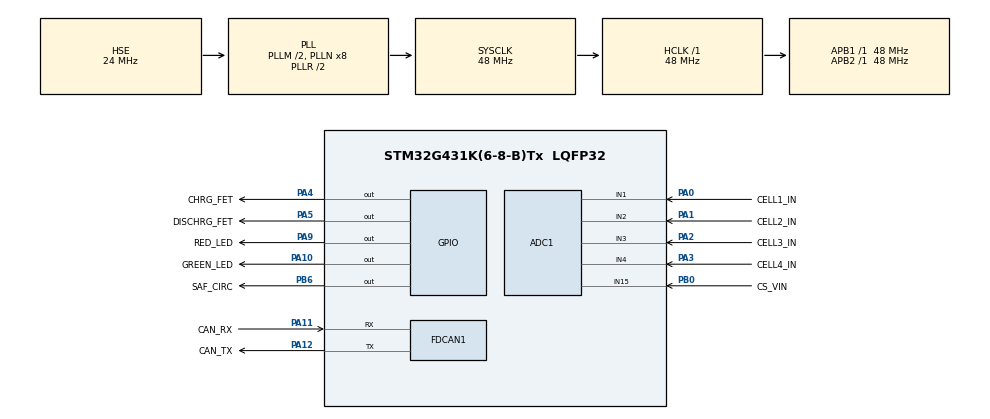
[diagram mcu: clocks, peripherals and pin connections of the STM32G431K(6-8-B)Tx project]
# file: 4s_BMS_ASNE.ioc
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ADC1.Channel-0\#ChannelRegularConversion=ADC_CHANNEL_1
ADC1.Channel-1\#ChannelRegularConversion=ADC_CHANNEL_2
ADC1.Channel-2\#ChannelRegularConversion=ADC_CHANNEL_3
ADC1.Channel-3\#ChannelRegularConversion=ADC_CHANNEL_4
ADC1.Channel-4\#ChannelRegularConversion=ADC_CHANNEL_15
ADC1.ClockPrescaler=ADC_CLOCK_ASYNC_DIV2
ADC1.ContinuousConvMode=ENABLE
ADC1.DMAContinuousRequests=ENABLE
ADC1.EOCSelection=ADC_EOC_SEQ_CONV
ADC1.NbrOfConversion=5
ADC1.NbrOfConversionFlag=1
ADC1.OffsetNumber-0\#ChannelRegularConversion=ADC_OFFSET_NONE
ADC1.OffsetNumber-1\#ChannelRegularConversion=ADC_OFFSET_NONE
ADC1.OffsetNumber-2\#ChannelRegularConversion=ADC_OFFSET_NONE
ADC1.OffsetNumber-3\#ChannelRegularConversion=ADC_OFFSET_NONE
ADC1.OffsetNumber-4\#ChannelRegularConversion=ADC_OFFSET_NONE
ADC1.Rank-0\#ChannelRegularConversion=1
ADC1.Rank-1\#ChannelRegularConversion=2
ADC1.Rank-2\#ChannelRegularConversion=3
ADC1.Rank-3\#ChannelRegularConversion=4
ADC1.Rank-4\#ChannelRegularConversion=5
ADC1.SamplingTime-0\#ChannelRegularConversion=ADC_SAMPLETIME_640CYCLES_5
ADC1.SamplingTime-1\#ChannelRegularConversion=ADC_SAMPLETIME_640CYCLES_5
ADC1.SamplingTime-2\#ChannelRegularConversion=ADC_SAMPLETIME_640CYCLES_5
ADC1.SamplingTime-3\#ChannelRegularConversion=ADC_SAMPLETIME_640CYCLES_5
ADC1.SamplingTime-4\#ChannelRegularConversion=ADC_SAMPLETIME_640CYCLES_5
ADC1.master=1
Dma.ADC1.0.Direction=DMA_PERIPH_TO_MEMORY
Dma.ADC1.0.EventEnable=DISABLE
Dma.ADC1.0.Instance=DMA1_Channel1
Dma.ADC1.0.MemDataAlignment=DMA_MDATAALIGN_HALFWORD
Dma.ADC1.0.MemInc=DMA_MINC_ENABLE
Dma.ADC1.0.Mode=DMA_CIRCULAR
Dma.ADC1.0.PeriphDataAlignment=DMA_PDATAALIGN_HALFWORD
Dma.ADC1.0.PeriphInc=DMA_PINC_DISABLE
Dma.ADC1.0.Polarity=HAL_DMAMUX_REQ_GEN_RISING
Dma.ADC1.0.Priority=DMA_PRIORITY_LOW
Dma.ADC1.0.RequestNumber=1
Dma.ADC1.0.SignalID=NONE
Dma.ADC1.0.SyncEnable=DISABLE
Dma.ADC1.0.SyncPolarity=HAL_DMAMUX_SYNC_NO_EVENT
Dma.ADC1.0.SyncRequestNumber=1
Dma.ADC1.0.SyncSignalID=NONE
Dma.Request0=ADC1
FDCAN1.CalculateBaudRateNominal=500000
FDCAN1.CalculateTimeBitNominal=2000
FDCAN1.CalculateTimeQuantumNominal=125.0
FDCAN1.NominalPrescaler=3
FDCAN1.NominalSyncJumpWidth=1
FDCAN1.NominalTimeSeg1=13
FDCAN1.NominalTimeSeg2=2
Mcu.Family=STM32G4
Mcu.Name=STM32G431K(6-8-B)Tx
Mcu.Package=LQFP32
NVIC.ADC1_2_IRQn=true\:0\:0\:false\:false\:true\:true\:true\:true
NVIC.DMA1_Channel1_IRQn=true\:0\:0\:false\:false\:true\:false\:true\:true
NVIC.PriorityGroup=NVIC_PRIORITYGROUP_4
PA0.GPIO_Label=CELL1_IN
PA0.Mode=IN1-Single-Ended
PA0.Signal=ADC1_IN1
PA1.GPIO_Label=CELL2_IN
PA1.Mode=IN2-Single-Ended
PA1.Signal=ADC1_IN2
PA10.GPIO_Label=GREEN_LED
PA10.Signal=GPIO_Output
PA11.GPIO_Label=CAN_RX
PA11.GPIO_PuPd=GPIO_PULLUP
PA11.Mode=FDCAN_Activate
PA11.Signal=FDCAN1_RX
PA12.GPIO_Label=CAN_TX
PA12.GPIO_Speed=GPIO_SPEED_FREQ_MEDIUM
PA12.Mode=FDCAN_Activate
PA12.Signal=FDCAN1_TX
PA13.Mode=Serial_Wire
PA13.Signal=SYS_JTMS-SWDIO
PA14.Mode=Serial_Wire
PA14.Signal=SYS_JTCK-SWCLK
PA2.GPIO_Label=CELL3_IN
PA2.Mode=IN3-Single-Ended
PA2.Signal=ADC1_IN3
PA3.GPIO_Label=CELL4_IN
PA3.Mode=IN4-Single-Ended
PA3.Signal=ADC1_IN4
PA4.GPIO_Label=CHRG_FET
PA4.Signal=GPIO_Output
PA5.GPIO_Label=DISCHRG_FET
PA5.Signal=GPIO_Output
PA7.Signal=OPAMP1_VINP
PA9.GPIO_Label=RED_LED
PA9.Signal=GPIO_Output
PB0.GPIO_Label=CS_VIN
PB0.Mode=IN15-Single-Ended
PB0.Signal=ADC1_IN15
PB6.GPIO_Label=SAF_CIRC
PB6.GPIO_ModeDefaultOutputPP=GPIO_MODE_OUTPUT_OD
PB6.GPIO_PuPd=GPIO_NOPULL
PB6.Signal=GPIO_Output
PF0-OSC_IN.Mode=HSE-External-Oscillator
PF0-OSC_IN.Signal=RCC_OSC_IN
PF1-OSC_OUT.Mode=HSE-External-Oscillator
PF1-OSC_OUT.Signal=RCC_OSC_OUT
ProjectManager.HeapSize=0x200
ProjectManager.StackSize=0x400
ProjectManager.TargetToolchain=CMake
RCC.ADC12CLockSelection=RCC_ADC12CLKSOURCE_PLL
RCC.ADC12Freq_Value=48000000
RCC.AHBFreq_Value=48000000
RCC.APB1Freq_Value=48000000
RCC.APB1TimFreq_Value=48000000
RCC.APB2Freq_Value=48000000
RCC.APB2TimFreq_Value=48000000
RCC.CortexFreq_Value=48000000
RCC.EXTERNAL_CLOCK_VALUE=12288000
RCC.FDCANCLockSelection=RCC_FDCANCLKSOURCE_HSE
RCC.HCLKFreq_Value=48000000
RCC.HSE_VALUE=24000000
RCC.HSI48_VALUE=48000000
RCC.HSI_VALUE=16000000
RCC.LSE_VALUE=32768
RCC.PLLM=RCC_PLLM_DIV2
RCC.PLLSourceVirtual=RCC_PLLSOURCE_HSE
RCC.SYSCLKFreq_VALUE=48000000
RCC.SYSCLKSource=RCC_SYSCLKSOURCE_PLLCLK
RCC.USBFreq_Value=48000000
RCC.VCOOutputFreq_Value=96000000
TIM1.PeriodNoDither=499
TIM1.Prescaler=23999
VP_ADC1_Vref_Input.Mode=IN-Vrefint
VP_SYS_VS_DBSignals.Mode=DisableDeadBatterySignals
VP_TIM1_VS_ClockSourceINT.Mode=Internal
board=custom

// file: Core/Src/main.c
/* USER CODE BEGIN Header */
/**
 ******************************************************************************
 * @file           : main.c
 * @brief          : Main program body
 ******************************************************************************
 * @attention
 *
 * Copyright (c) 2026 STMicroelectronics.
 * All rights reserved.
 *
 * This software is licensed under terms that can be found in the LICENSE file
 * in the root directory of this software component.
 * If no LICENSE file comes with this software, it is provided AS-IS.
 *
 ******************************************************************************
 */
/* USER CODE END Header */
#include "main.h"
#include "adc.h"
#include "dma.h"
#include "fdcan.h"
#include "tim.h"
#include "gpio.h"

/* USER CODE BEGIN Includes */
#include "can_common.h"
#include <stdbool.h>
#include <stdint.h>
#include <stdlib.h>

/* USER CODE END Includes */

/* USER CODE BEGIN PD */
#define ADC_RES 12
#define ADC_RANGE 4095
#define R_DIV_K 160
#define ADC1_NUM_CHANNELS 5
#define CURR_SENSOR_ADC_CHANNEL 4

#define NUM_CELLS 4
#define ADC_V_REF 3300
#define CURR_SENSOR_SENSITIVITY 66 // mV/A
#define CURR_SENSOR_CALIBRATION_SAMPLES 100

// safe operation
#define MIN_CELL_mV 3000
#define MAX_CELL_mV 4200
#define MAX_CURR_mA 500
#define MAX_TEMP_mC 1000

#define CONSEC_OVERCURRENT_READING_THRESH 5
#define CONSEC_OVERVOLTAGE_READING_THRESH 5
#define CONSEC_UNDERVOLTAGE_READING_THRESH 5
#define CONSEC_OVERHEATING_READING_THRESH 5

#define CELL_UNDERVOLT_RECOVER_mV 3200
#define CELL_OVERVOLT_RECOVER_mV 4100

#define DATA_EXPIRATION_mS 250
#define ADC_RAW_MIN 20   // probs disconnected
#define ADC_RAW_MAX 4075 // maxxe

/* USER CODE END PD */

void SystemClock_Config(void);
/* USER CODE BEGIN PFP */
static void calc_cell_voltages(void);
static void calibrate_zero_current(void);
static void calc_current(void);
static void enable_charge_fet(void);
static void enable_discharge_fet(void);
static void disable_charge_fet(void);
static void disable_discharge_fet(void);
static bool is_overcurrent(void);
static bool is_overvoltage(int32_t volt_mV, uint8_t cell_no);
static bool any_overvoltage(void);
static bool is_cell_undervoltage(int32_t volt_mV, uint8_t cell_no);
static bool any_undervoltage(void);
static bool is_overheating(void);
static bool is_safe_charge(bool oc_fault, bool oh_fault);
static bool is_safe_discharge(bool oc_fault, bool oh_fault);
static bool can_enable_discharge(void);
static bool can_enable_charge(void);
static bool validate_cell_taps(void);

/* USER CODE END PFP */

/* USER CODE BEGIN 0 */
static const uint32_t R_TOP_K[4] = {62, 280, 510, 750};
volatile uint16_t adc1_raw[ADC1_NUM_CHANNELS];
volatile uint16_t tap_raw[4];
volatile uint32_t tap_mv[4];
volatile int32_t cell_mv[4];
volatile int32_t current_mA = 0;

// safe conditions
volatile int32_t temp_mC = 0;
volatile uint8_t adc1_ready = 0;
volatile int32_t calibrated_curr_zero_mv = 0;

volatile uint8_t is_charge_en = 0;
volatile uint8_t is_discharge_en = 0;

volatile uint8_t consec_overcurrent_readings = 0;
volatile uint8_t consec_overvoltage_readings[4] = {0};
volatile uint8_t consec_undervoltage_readings[4] = {0};
volatile uint8_t consec_overheating_readings = 0;

volatile uint32_t last_adc_tick = UINT32_MAX;
volatile bool is_temp_valid = 1;

static void calc_cell_voltages(void) {
  // tap voltage = raw * vref * (r_top + R_DIV_K) / (adc_range * R_DIV_K)
  // NOTE: cell tap 4 is BAT+
  for (int i = 0; i < NUM_CELLS; i++) {
    uint64_t raw = tap_raw[i];
    tap_mv[i] = (uint32_t)((raw * ADC_V_REF * (R_TOP_K[i] + R_DIV_K)) /
                           ((uint64_t)ADC_RANGE * R_DIV_K));
  }

  // cell voltage is diff of adj taps (except for tap 1)
  cell_mv[0] = (int32_t)tap_mv[0];
  for (int i = 1; i < NUM_CELLS; i++) {
    cell_mv[i] = (int32_t)tap_mv[i] - (int32_t)tap_mv[i - 1];
  }
}

static void calibrate_zero_current(void) {
  uint32_t sum = 0;
  for (int i = 0; i < CURR_SENSOR_CALIBRATION_SAMPLES; i++) {
    sum += adc1_raw[CURR_SENSOR_ADC_CHANNEL];
    HAL_Delay(1);
  }

  calibrated_curr_zero_mv =
      (int32_t)((sum * ADC_V_REF) /
                (CURR_SENSOR_CALIBRATION_SAMPLES * ADC_RANGE));
}

static void calc_current(void) {
  uint32_t raw = (uint32_t)adc1_raw[CURR_SENSOR_ADC_CHANNEL];
  int32_t pin_mv = (int32_t)((raw * ADC_V_REF) / ADC_RANGE);
  current_mA =
      ((pin_mv - calibrated_curr_zero_mv) * 1000) / CURR_SENSOR_SENSITIVITY;
}

void HAL_ADC_ConvCpltCallback(ADC_HandleTypeDef *hadc) {
  if (hadc->Instance == ADC1) {
    adc1_ready = 1;
    last_adc_tick = HAL_GetTick();
  }
}

static void enable_charge_fet(void) {
  is_charge_en = 1;
  HAL_GPIO_WritePin(CHRG_FET_GPIO_Port, CHRG_FET_Pin, GPIO_PIN_SET);
}

static void enable_discharge_fet(void) {
  is_discharge_en = 1;
  HAL_GPIO_WritePin(DISCHRG_FET_GPIO_Port, DISCHRG_FET_Pin, GPIO_PIN_SET);
  HAL_GPIO_WritePin(RED_LED_GPIO_Port, RED_LED_Pin, GPIO_PIN_RESET);
}

static void disable_charge_fet(void) {
  is_charge_en = 0;
  HAL_GPIO_WritePin(CHRG_FET_GPIO_Port, CHRG_FET_Pin, GPIO_PIN_RESET);
  for (uint8_t i = 0; i < NUM_CELLS; i++)
    consec_overvoltage_readings[i] = 0;
}

static void disable_discharge_fet(void) {
  is_discharge_en = 0;
  HAL_GPIO_WritePin(DISCHRG_FET_GPIO_Port, DISCHRG_FET_Pin, GPIO_PIN_RESET);
  for (uint8_t i = 0; i < NUM_CELLS; i++)
    consec_undervoltage_readings[i] = 0;
  HAL_GPIO_WritePin(RED_LED_GPIO_Port, RED_LED_Pin, GPIO_PIN_SET);
}

static bool is_safe_discharge(bool oc_fault, bool oh_fault) {
  return !any_undervoltage() && !oc_fault && !oh_fault;
}

static bool is_safe_charge(bool oc_fault, bool oh_fault) {
  return !any_overvoltage() && !oc_fault && !oh_fault;
}

static bool can_enable_discharge(void) {
  // avoid rapid enable/disable at volt thresh
  for (uint8_t i = 0; i < NUM_CELLS; i++) {
    if (cell_mv[i] < CELL_UNDERVOLT_RECOVER_mV)
      return false;
  }
  if (abs(current_mA) > MAX_CURR_mA)
    return false;
  if (temp_mC > MAX_TEMP_mC)
    return false;
  return true;
}

static bool can_enable_charge(void) {
  // avoid rapid enable/disable at volt thresh
  for (uint8_t i = 0; i < NUM_CELLS; i++) {
    if (cell_mv[i] > CELL_OVERVOLT_RECOVER_mV)
      return false;
  }
  if (abs(current_mA) > MAX_CURR_mA)
    return false;
  if (temp_mC > MAX_TEMP_mC)
    return false;
  return true;
}

static bool is_overcurrent(void) {
  // hardcutoff might be nice for safety
  int32_t i_mA = abs(current_mA);
  if (i_mA > MAX_CURR_mA * 10)
    return true;

  // sample lower cutoff
  if (i_mA > MAX_CURR_mA) {
    if (++consec_overcurrent_readings >= CONSEC_OVERCURRENT_READING_THRESH)
      return true;
  } else {
    consec_overcurrent_readings = 0;
  }
  return false;
}

static bool is_overvoltage(int32_t volt_mV, uint8_t cell_no) {
  // hardcutoff might be nice for safety
  // if (volt_mV > MAX_CELL_mV * 10) return true;

  // sample lower cutoff
  if (volt_mV > MAX_CELL_mV) {
    if (++consec_overvoltage_readings[cell_no] >=
        CONSEC_OVERVOLTAGE_READING_THRESH)
      return true;
  } else {
    consec_overvoltage_readings[cell_no] = 0;
  }
  return false;
}

static bool any_overvoltage(void) {
  bool fault = false;
  for (uint8_t i = 0; i < NUM_CELLS; i++) {
    if (is_overvoltage(cell_mv[i], i))
      fault = true;
  }
  return fault;
}

static bool is_cell_undervoltage(int32_t volt_mV, uint8_t cell_no) {
  // hardcutoff might be nice for safety
  // if (volt_mV < MIN_CELL_mV / 2) return true;

  // sample lower cutoff
  if (volt_mV < MIN_CELL_mV) {
    if (++consec_undervoltage_readings[cell_no] >=
        CONSEC_UNDERVOLTAGE_READING_THRESH)
      return true;
  } else {
    consec_undervoltage_readings[cell_no] = 0;
  }
  return false;
}

static bool any_undervoltage(void) {
  bool fault = false;
  for (uint8_t i = 0; i < NUM_CELLS; i++) {
    if (is_cell_undervoltage(cell_mv[i], i))
      fault = true;
  }
  return fault;
}

static bool is_overheating(void) {
  // hardcutoff might be nice for safety
  if (temp_mC > MAX_TEMP_mC * 10)
    return true;

  // sample lower cutoff
  if (temp_mC > MAX_TEMP_mC) {
    if (++consec_overheating_readings >= CONSEC_OVERHEATING_READING_THRESH)
      return true;
  } else {
    consec_overheating_readings = 0;
  }
  return false;
}

static bool validate_cell_taps(void) {
  for (int i = 0; i < NUM_CELLS; i++) {
    if (tap_raw[i] < ADC_RAW_MIN || tap_raw[i] > ADC_RAW_MAX)
      return false;
  }

  return true;
}

/* USER CODE END 0 */

int main(void)
{

  /* MCU Configuration--------------------------------------------------------*/

  /* Reset of all peripherals, Initializes the Flash interface and the Systick. */
  HAL_Init();

  /* Configure the system clock */
  SystemClock_Config();

  /* Initialize all configured peripherals */
  MX_GPIO_Init();
  MX_DMA_Init();
  MX_ADC1_Init();
  MX_FDCAN1_Init();
  MX_TIM1_Init();
  /* USER CODE BEGIN 2 */
  HAL_TIM_Base_Start_IT(&htim1);
  disable_charge_fet();
  disable_discharge_fet();

  if (HAL_ADCEx_Calibration_Start(&hadc1, ADC_SINGLE_ENDED) != HAL_OK) {
    Error_Handler();
  }
  if (HAL_ADC_Start_DMA(&hadc1, (uint32_t *)adc1_raw, ADC1_NUM_CHANNELS) !=
      HAL_OK) {
    Error_Handler();
  }

  HAL_Delay(10);
  calibrate_zero_current();
  /* USER CODE END 2 */

  /* Infinite loop */
  while (1) {

    /* USER CODE BEGIN 3 */
    // HAL_GPIO_TogglePin(FLT_STATUS1_GPIO_Port, FLT_STATUS1_Pin);
    // HAL_GPIO_TogglePin(GREEN_LED_GPIO_Port, GREEN_LED_Pin);

    // ensure data fresh
    bool has_recieved_data = (last_adc_tick != UINT32_MAX);
    bool is_adc_valid = (HAL_GetTick() - last_adc_tick) <= DATA_EXPIRATION_mS;
    bool is_new_sample = adc1_ready;

    if (is_new_sample) {
      adc1_ready = 0;
      for (int i = 0; i < NUM_CELLS; i++)
        tap_raw[i] = adc1_raw[i];
      calc_cell_voltages();
      calc_current();
    }

    bool data_valid = has_recieved_data && is_adc_valid && is_temp_valid &&
                      validate_cell_taps();

    if (!data_valid) {
      if (is_charge_en)
        disable_charge_fet();
      if (is_discharge_en)
        disable_discharge_fet();
    } else if (is_new_sample) {
      bool oc_fault = is_overcurrent();
      bool oh_fault = is_overheating();

      // protection
      if (is_charge_en && !is_safe_charge(oc_fault, oh_fault))
        disable_charge_fet();
      if (is_discharge_en && !is_safe_discharge(oc_fault, oh_fault))
        disable_discharge_fet();

      // enable
      if (!is_discharge_en && can_enable_discharge())
        enable_discharge_fet();
      if (!is_charge_en && can_enable_charge())
        enable_charge_fet();
    }
  }
  /* USER CODE END 3 */
}

void SystemClock_Config(void)
{
  RCC_OscInitTypeDef RCC_OscInitStruct = {0};
  RCC_ClkInitTypeDef RCC_ClkInitStruct = {0};

  /** Configure the main internal regulator output voltage
  */
  HAL_PWREx_ControlVoltageScaling(PWR_REGULATOR_VOLTAGE_SCALE1);

  /** Initializes the RCC Oscillators according to the specified parameters
  * in the RCC_OscInitTypeDef structure.
  */
  RCC_OscInitStruct.OscillatorType = RCC_OSCILLATORTYPE_HSE;
  RCC_OscInitStruct.HSEState = RCC_HSE_ON;
  RCC_OscInitStruct.PLL.PLLState = RCC_PLL_ON;
  RCC_OscInitStruct.PLL.PLLSource = RCC_PLLSOURCE_HSE;
  RCC_OscInitStruct.PLL.PLLM = RCC_PLLM_DIV2;
  RCC_OscInitStruct.PLL.PLLN = 8;
  RCC_OscInitStruct.PLL.PLLP = RCC_PLLP_DIV2;
  RCC_OscInitStruct.PLL.PLLQ = RCC_PLLQ_DIV2;
  RCC_OscInitStruct.PLL.PLLR = RCC_PLLR_DIV2;
  if (HAL_RCC_OscConfig(&RCC_OscInitStruct) != HAL_OK)
  {
    Error_Handler();
  }

  /** Initializes the CPU, AHB and APB buses clocks
  */
  RCC_ClkInitStruct.ClockType = RCC_CLOCKTYPE_HCLK|RCC_CLOCKTYPE_SYSCLK
                              |RCC_CLOCKTYPE_PCLK1|RCC_CLOCKTYPE_PCLK2;
  RCC_ClkInitStruct.SYSCLKSource = RCC_SYSCLKSOURCE_PLLCLK;
  RCC_ClkInitStruct.AHBCLKDivider = RCC_SYSCLK_DIV1;
  RCC_ClkInitStruct.APB1CLKDivider = RCC_HCLK_DIV1;
  RCC_ClkInitStruct.APB2CLKDivider = RCC_HCLK_DIV1;

  if (HAL_RCC_ClockConfig(&RCC_ClkInitStruct, FLASH_LATENCY_1) != HAL_OK)
  {
    Error_Handler();
  }
}

/* USER CODE BEGIN 4 */
void HAL_TIM_PeriodElapsedCallback(TIM_HandleTypeDef *htim) {
  if (htim->Instance == TIM1) {
    HAL_GPIO_TogglePin(GREEN_LED_GPIO_Port, GREEN_LED_Pin);
  }
}

/* USER CODE END 4 */

void Error_Handler(void)
{
  __disable_irq();
  while (1) {
  }
}
#ifdef USE_FULL_ASSERT
/**
  * @brief  Reports the name of the source file and the source line number
  *         where the assert_param error has occurred.
  * @param  file: pointer to the source file name
  * @param  line: assert_param error line source number
  * @retval None
  */
void assert_failed(uint8_t *file, uint32_t line)
{
  /* USER CODE BEGIN 6 */
  /* User can add his own implementation to report the file name and line
     number, ex: printf("Wrong parameters value: file %s on line %d\r\n", file,
     line) */
  /* USER CODE END 6 */
}
#endif /* USE_FULL_ASSERT */
